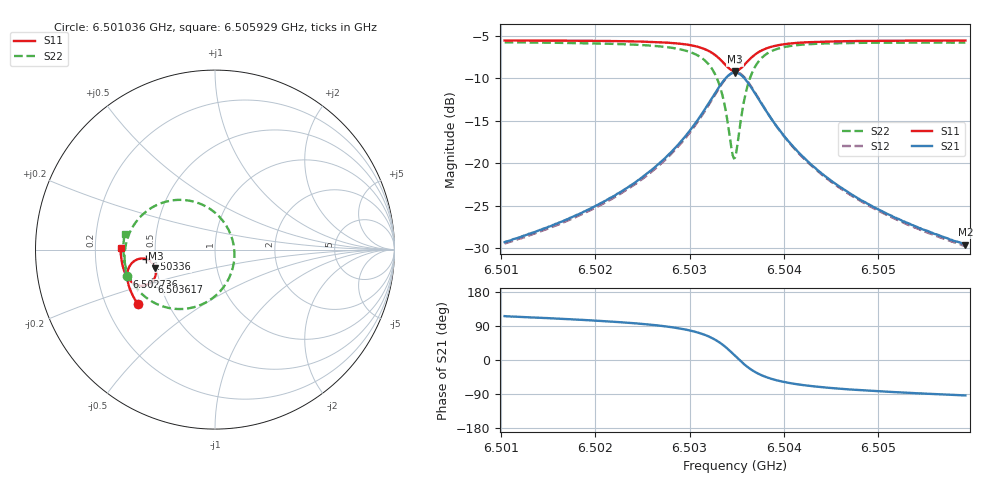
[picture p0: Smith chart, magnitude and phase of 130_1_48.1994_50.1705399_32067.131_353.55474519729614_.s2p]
#  HZ  S  RI  R  50.00
! Rohde & Schwarz Vector Network Analyzer
! Rohde-Schwarz,ZNB20-2Port,1311601062101988,3.16
! Created: UTC 3/20/2024, 11:41:52 AM
! freq[Hz]  re:S11  im:S11  re:S21  im:S21  re:S12  im:S12  re:S22  im:S22
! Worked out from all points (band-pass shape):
!   401 points, 6.501036 GHz to 6.505929 GHz, reference 50 ohm
!   highest |S21| = -9.35 dB at 6.503483 GHz (marker M1); lowest = -29.5 dB at 6.505929 GHz (marker M2)
!   |S21| within 3 dB of the highest: 6.503238 GHz to 6.503727 GHz (489.4 kHz wide, 0.00753 % of centre)
!   lowest |S11| = -9.2 dB at 6.503483 GHz (marker M3), VSWR 2.07, Z = 24.6 - j5.8 ohm
!   |S11| at or under -10 dB: nowhere
!   |S22| runs from -19.4 to -5.8 dB; largest |S21 - S12| = 0.012
!   S11 on the Smith chart (normalised r, x): 6.501036 GHz: 0.34, -0.28; 6.502736 GHz: 0.33, -0.14; 6.50336 GHz: 0.44, -0.05; 6.503617 GHz: 0.45, -0.19; 6.505929 GHz: 0.31, +0.01
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6.501036e9  -0.4301 -0.3035  -0.015 0.031  -0.0132 0.0312  -0.4925 -0.1456
6.5018557e9  -0.4648 -0.2421  -0.0141 0.0493  -0.0116 0.0488  -0.5041 -0.0567
6.5023205e9  -0.4808 -0.2002  -0.0107 0.0701  -0.00765 0.0689  -0.4997 0.0115
6.5026753e9  -0.4886 -0.1599  -0.0015 0.0995  0.00232 0.097  -0.4791 0.0852
6.5027364e9  -0.4891 -0.1517  0.00189 0.1068  0.00554 0.1041  -0.472 0.1012
6.5029566e9  -0.4855 -0.1165  0.024 0.1424  0.0279 0.1381  -0.4254 0.1723
6.5031157e9  -0.4706 -0.0843  0.0638 0.1787  0.0665 0.1726  -0.3481 0.2362
6.5032625e9  -0.4326 -0.0546  0.1461 0.2075  0.1468 0.2011  -0.1977 0.2771
6.5033114e9  -0.4113 -0.0498  0.1888 0.206  0.1891 0.2002  -0.1225 0.2683
6.5033603e9  -0.3859 -0.0519  0.2381 0.1905  0.2383 0.1856  -0.0383 0.2334
6.503446e9  -0.3428 -0.0813  0.3168 0.1153  0.3192 0.1109  0.0872 0.0846
6.5034827e9  -0.332 -0.1035  0.3344 0.0661  0.338 0.0604  0.1077 -0.00764
6.5035071e9  -0.3291 -0.1198  0.3377 0.0313  0.3417 0.0243  0.1051 -0.0717
6.5035438e9  -0.3313 -0.144  0.3303 -0.0192  0.3336 -0.0283  0.0772 -0.1611
6.5036172e9  -0.3537 -0.1813  0.2832 -0.0959  0.2828 -0.1074  -0.0343 -0.2847
6.5037273e9  -0.3994 -0.2014  0.1957 -0.1412  0.19 -0.1512  -0.2115 -0.3309
6.5038864e9  -0.4467 -0.192  0.1113 -0.1373  0.104 -0.1425  -0.3634 -0.2818
6.5040576e9  -0.4748 -0.1705  0.0656 -0.1161  0.059 -0.1184  -0.4375 -0.2147
6.5043023e9  -0.4958 -0.1407  0.0347 -0.0907  0.0298 -0.0913  -0.4816 -0.1407
6.5046693e9  -0.5114 -0.1018  0.0153 -0.0669  0.0119 -0.0663  -0.5045 -0.065
6.5051219e9  -0.5208 -0.0594  0.00518 -0.0495  0.00293 -0.0488  -0.5108 0.000847
6.5059293e9  -0.526 0.00944  -0.00202 -0.0332  -0.0033 -0.0325  -0.5033 0.0882
